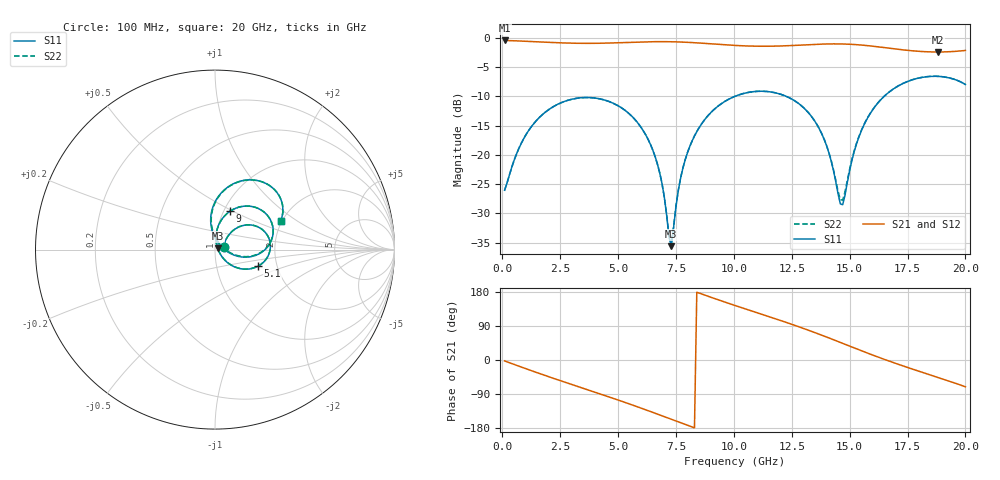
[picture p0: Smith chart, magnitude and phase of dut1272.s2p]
! Touchstone file exported from HFSS 2026.1.0
!  File:  C:/ffzhzh/LocalFiles/Ansys_Project_Files/temp_train_TSV_RDL_1272_1783329156_38704.aedt
!  Generated:  05:22:58 PM Jul  6, 2026
!  Design:  TSV_RDL
!  Project:  temp_train_TSV_RDL_1272_1783329156_38704
! Variables:
!  h_bsmrdl = 5.28um
!  h_ox = 20um
!  h_rdl = 5um
!  h_sub = 77.09um
!  h_tmrdl = 2.78um
!  h_tsv = 77.09um
!  h_via = 3um
!  l_bsmrdl = 754um
!  l_sub = 5952.91um
!  l_tmrdl = 802.41um
!  m_sub = 200um
!  pitch = 31.37um
!  r_tsv = 14.58um
!  s_tmrdl = 10um
!  w_bsmrdl = 16.81um
!  w_sub = 500um
!  w_tmrdl = 10.28um
!  x_tsv_center1 = 807.55um
!  x_tsv_center2 = 1578.36um
!  x_tsv_center3 = 2391.05um
!  x_tsv_center4 = 3161.86um
!  x_tsv_center5 = 3974.55um
!  x_tsv_center6 = 4745.36um
# GHz S MA R 50.000000
! Terminal data exported
! Port[1] = TM_RDL1_1_T1
! Port[2] = TM_RDL5_1_T1
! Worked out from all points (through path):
!   200 points, 100 MHz to 20 GHz, reference 50 ohm
!   highest |S21| = -0.42 dB at 100 MHz (marker M1); lowest = -2.4 dB at 18.8 GHz (marker M2)
!   group delay of S21, straight-line fit = 60 ps
!   lowest |S11| = -35.6 dB at 7.3 GHz (marker M3), VSWR 1.03, Z = 51.5 + j0.848 ohm
!   |S11| at or under -10 dB: start of sweep to 10.04 GHz; 12.27 GHz to 16.49 GHz (4.215 GHz wide, 29.3 % of centre)
!   |S22| runs from -35.3 to -6.5 dB; largest |S21 - S12| = 1.6e-14
!   S11 on the Smith chart (normalised r, x): 100 MHz: 1.10, +0.03; 5.1 GHz: 1.59, -0.32; 9 GHz: 1.07, +0.48; 20 GHz: 1.96, +0.75
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0.1  0.04985 16.0  0.9525 -2.4  0.9525 -2.4  0.04985 16.0
! Gamma 0 0 0 0
! Port Impedance 50 0 50 0
0.7  0.1118 46.6  0.9432 -15.9  0.9432 -15.9  0.1118 46.6
1.4  0.1893 42.8  0.9298 -31.3  0.9298 -31.3  0.1893 42.9
3.5  0.3092 8.3  0.8999 -74.8  0.8999 -74.8  0.309 8.4
5.1  0.2562 -21.3  0.9118 -107.7  0.9118 -107.7  0.2561 -21.1
6.1  0.1597 -39.5  0.926 -129.3  0.926 -129.3  0.1596 -39.2
6.8  0.07001 -46.9  0.9307 -145.0  0.9307 -145.0  0.07001 -46.2
7.3  0.01657 29.8  0.9288 -156.4  0.9288 -156.4  0.01726 30.0
7.6  0.04937 83.0  0.9254 -163.2  0.9254 -163.2  0.04973 82.5
7.9  0.09096 85.5  0.9202 -170.0  0.9202 -170.0  0.0912 85.2
9  0.2293 68.6  0.8918 165.7  0.8918 165.7  0.2294 68.6
10.1  0.32 48.1  0.8627 142.8  0.8627 142.8  0.32 48.3
12  0.3313 13.6  0.8541 104.7  0.8541 104.7  0.3312 13.9
13.4  0.2072 -10.8  0.8798 74.6  0.8798 74.6  0.2073 -9.9
14  0.1206 -16.4  0.8888 60.7  0.8888 60.7  0.1212 -14.8
14.6  0.03811 26.5  0.8897 46.4  0.8897 46.4  0.04138 28.5
14.7  0.0375 52.3  0.8889 44.0  0.8889 44.0  0.04105 51.9
15.1  0.08998 96.9  0.8822 34.3  0.8822 34.3  0.0919 95.0
15.5  0.1597 98.6  0.8707 24.7  0.8707 24.7  0.161 97.5
16.7  0.3438 80.2  0.8182 -2.8  0.8182 -2.8  0.3445 79.7
18.8  0.4699 43.5  0.759 -45.5  0.759 -45.5  0.4702 43.4
20  0.3999 23.8  0.7821 -70.7  0.7821 -70.7  0.4002 23.8
